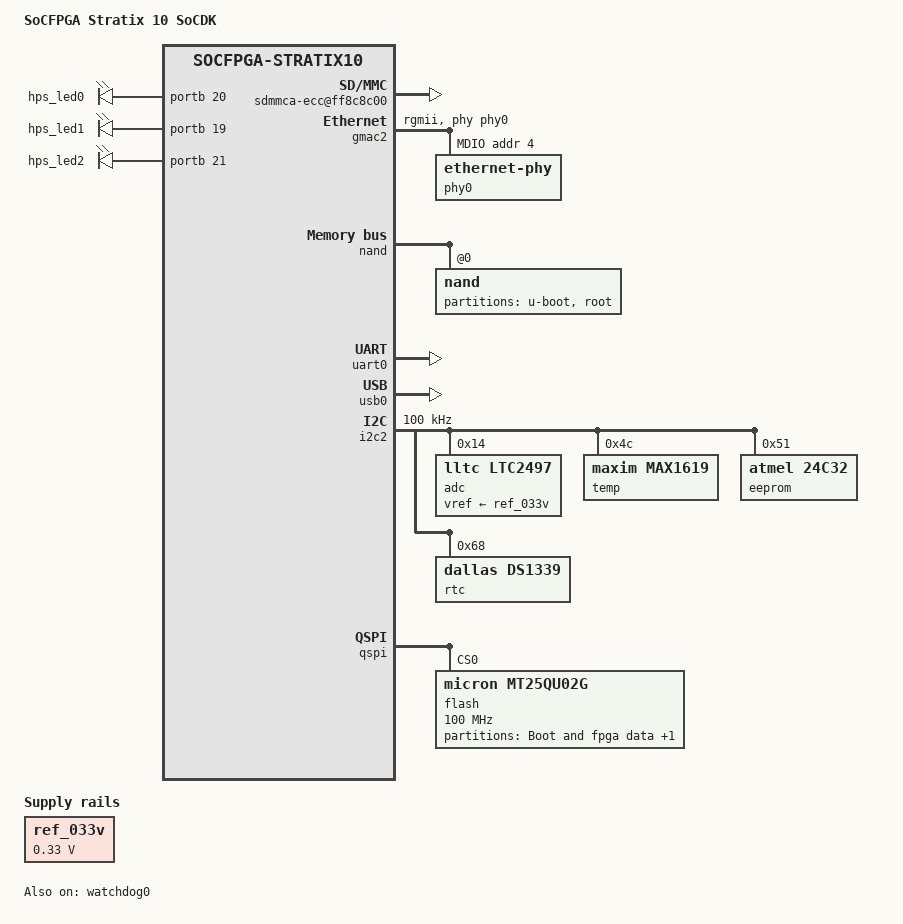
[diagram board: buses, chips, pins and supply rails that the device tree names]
// SPDX-License-Identifier: GPL-2.0-only
/*
 * Copyright Altera Corporation (C) 2015. All rights reserved.
 */

#include "socfpga_stratix10.dtsi"

/ {
	model = "SoCFPGA Stratix 10 SoCDK";
	compatible = "altr,socfpga-stratix10-socdk", "altr,socfpga-stratix10";

	aliases {
		serial0 = &uart0;
		ethernet0 = &gmac0;
		ethernet1 = &gmac1;
		ethernet2 = &gmac2;
	};

	chosen {
		stdout-path = "serial0:115200n8";
	};

	leds {
		compatible = "gpio-leds";
		led-hps0 {
			label = "hps_led0";
			gpios = <&portb 20 GPIO_ACTIVE_HIGH>;
		};

		led-hps1 {
			label = "hps_led1";
			gpios = <&portb 19 GPIO_ACTIVE_HIGH>;
		};

		led-hps2 {
			label = "hps_led2";
			gpios = <&portb 21 GPIO_ACTIVE_HIGH>;
		};
	};

	memory@80000000 {
		device_type = "memory";
		/* We expect the bootloader to fill in the reg */
		reg = <0 0x80000000 0 0>;
	};

	ref_033v: regulator-v-ref {
		compatible = "regulator-fixed";
		regulator-name = "0.33V";
		regulator-min-microvolt = <330000>;
		regulator-max-microvolt = <330000>;
	};

	soc@0 {
		eccmgr {
			sdmmca-ecc@ff8c8c00 {
				compatible = "altr,socfpga-s10-sdmmc-ecc",
					     "altr,socfpga-sdmmc-ecc";
				reg = <0xff8c8c00 0x100>;
				altr,ecc-parent = <&mmc>;
				interrupts = <14 4>,
					     <15 4>;
			};
		};
	};
};

&gpio1 {
	status = "okay";
};

&gmac2 {
	status = "okay";
	phy-mode = "rgmii";
	phy-handle = <&phy0>;

	max-frame-size = <9000>;

	mdio0 {
		#address-cells = <1>;
		#size-cells = <0>;
		compatible = "snps,dwmac-mdio";
		phy0: ethernet-phy@0 {
			reg = <4>;

			txd0-skew-ps = <0>; /* -420ps */
			txd1-skew-ps = <0>; /* -420ps */
			txd2-skew-ps = <0>; /* -420ps */
			txd3-skew-ps = <0>; /* -420ps */
			rxd0-skew-ps = <420>; /* 0ps */
			rxd1-skew-ps = <420>; /* 0ps */
			rxd2-skew-ps = <420>; /* 0ps */
			rxd3-skew-ps = <420>; /* 0ps */
			txen-skew-ps = <0>; /* -420ps */
			txc-skew-ps = <900>; /* 0ps */
			rxdv-skew-ps = <420>; /* 0ps */
			rxc-skew-ps = <1680>; /* 780ps */
		};
	};
};

&nand {
	status = "okay";

	nand@0 {
		reg = <0>;
		#address-cells = <1>;
		#size-cells = <1>;
		nand-bus-width = <16>;

		partition@0 {
			label = "u-boot";
			reg = <0 0x200000>;
		};

		partition@200000 {
			label = "root";
			reg = <0x200000 0x3fe00000>;
		};
	};
};

&osc1 {
	clock-frequency = <25000000>;
};

&uart0 {
	status = "okay";
};

&usb0 {
	status = "okay";
	disable-over-current;
};

&watchdog0 {
	status = "okay";
};

&i2c2 {
	status = "okay";
	clock-frequency = <100000>;
	i2c-sda-falling-time-ns = <890>;  /* hcnt */
	i2c-scl-falling-time-ns = <890>;  /* lcnt */

	adc@14 {
		compatible = "lltc,ltc2497";
		reg = <0x14>;
		vref-supply = <&ref_033v>;
	};

	temp@4c {
		compatible = "maxim,max1619";
		reg = <0x4c>;
	};

	eeprom@51 {
		compatible = "atmel,24c32";
		reg = <0x51>;
		pagesize = <32>;
	};

	rtc@68 {
		compatible = "dallas,ds1339";
		reg = <0x68>;
	};
};

&qspi {
	status = "okay";
	flash@0 {
		#address-cells = <1>;
		#size-cells = <1>;
		compatible = "micron,mt25qu02g", "jedec,spi-nor";
		reg = <0>;
		spi-max-frequency = <100000000>;

		m25p,fast-read;
		cdns,read-delay = <1>;
		cdns,tshsl-ns = <50>;
		cdns,tsd2d-ns = <50>;
		cdns,tchsh-ns = <4>;
		cdns,tslch-ns = <4>;

		partitions {
			compatible = "fixed-partitions";
			#address-cells = <1>;
			#size-cells = <1>;

			qspi_boot: partition@0 {
				label = "Boot and fpga data";
				reg = <0x0 0x03FE0000>;
			};

			qspi_rootfs: partition@3fe0000 {
				label = "Root Filesystem - JFFS2";
				reg = <0x03FE0000 0x0C020000>;
			};
		};
	};
};
